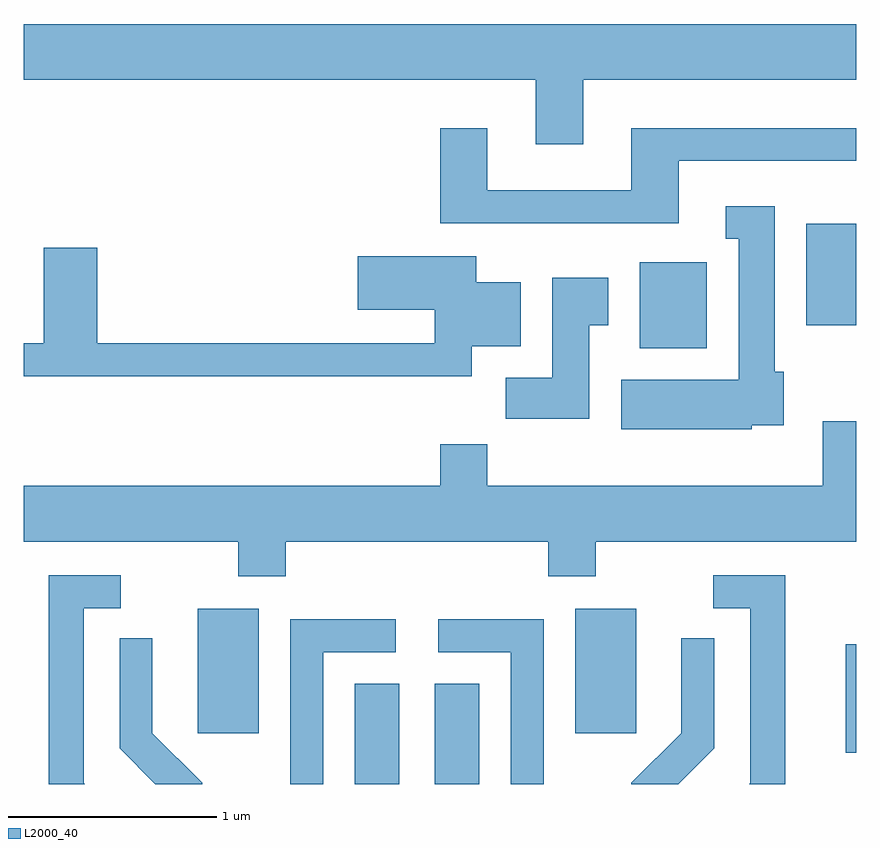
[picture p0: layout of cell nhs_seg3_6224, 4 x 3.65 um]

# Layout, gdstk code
import gdstk
lib = gdstk.Library(unit=1e-6, precision=1e-09)
def R(c, l, rs):  # rectangles x0, y0, x1, y1
    for r in rs: c.add(gdstk.rectangle(r[:2], r[2:], *l))
def P(c, l, *ps):  # polygons
    for p in ps: c.add(gdstk.Polygon(p, *l))
L2000_40 = (2000, 40)

nhs_seg3_6224 = lib.new_cell('nhs_seg3_6224')
R(nhs_seg3_6224, L2000_40, [(369.201,1195.892,369.414,1196.374), (369.586,1195.892,369.799,1196.374), (371.561,1196.041,371.611,1196.564), (368.446,1196.136,368.739,1196.734), (370.261,1196.136,370.554,1196.734), (370.571,1197.986,370.894,1198.399), (371.371,1198.096,371.611,1198.584)])
P(nhs_seg3_6224, L2000_40, [(370.299,1199.276),(371.611,1199.276),(371.611,1199.544),(367.611,1199.544),(367.611,1199.276),(370.071,1199.276),(370.071,1198.966),(370.299,1198.966)],
  [(370.759,1198.886),(371.611,1198.886),(371.611,1199.044),(370.531,1199.044),(370.531,1198.744),(369.839,1198.744),(369.839,1199.044),(369.611,1199.044),(369.611,1198.586),(370.759,1198.586)],
  [(371.109,1197.616),(371.264,1197.616),(371.264,1197.874),(371.219,1197.874),(371.219,1198.669),(370.983,1198.669),(370.983,1198.511),(371.046,1198.511),(371.046,1197.834),(370.481,1197.834),(370.481,1197.596),(371.109,1197.596)],
  [(369.764,1197.996),(369.999,1197.996),(369.999,1198.304),(369.784,1198.304),(369.784,1198.429),(369.216,1198.429),(369.216,1198.171),(369.586,1198.171),(369.586,1198.009),(367.964,1198.009),(367.964,1198.469),(367.706,1198.469),(367.706,1198.009),(367.611,1198.009),(367.611,1197.851),(369.764,1197.851)],
  [(370.329,1198.096),(370.419,1198.096),(370.419,1198.324),(370.151,1198.324),(370.151,1197.844),(369.926,1197.844),(369.926,1197.646),(370.329,1197.646)],
  [(368.869,1197.056),(370.131,1197.056),(370.131,1196.891),(370.359,1196.891),(370.359,1197.056),(371.611,1197.056),(371.611,1197.634),(371.451,1197.634),(371.451,1197.324),(369.839,1197.324),(369.839,1197.524),(369.611,1197.524),(369.611,1197.324),(367.611,1197.324),(367.611,1197.056),(368.641,1197.056),(368.641,1196.891),(368.869,1196.891)],
  [(367.899,1195.897),(367.899,1196.736),(368.078,1196.736),(368.078,1196.894),(367.731,1196.894),(367.731,1195.892),(367.904,1195.892)],
  [(371.269,1196.894),(370.923,1196.894),(370.923,1196.736),(371.101,1196.736),(371.101,1195.897),(371.096,1195.892),(371.269,1195.892)],
  [(370.109,1196.684),(369.603,1196.684),(369.603,1196.526),(369.951,1196.526),(369.951,1195.892),(370.109,1195.892)],
  [(369.049,1196.526),(369.398,1196.526),(369.398,1196.684),(368.891,1196.684),(368.891,1195.892),(369.049,1195.892)],
  [(370.929,1196.064),(370.929,1196.593),(370.771,1196.593),(370.771,1196.137),(370.531,1195.897),(370.531,1195.892),(370.757,1195.892)],
  [(368.469,1195.897),(368.229,1196.137),(368.229,1196.593),(368.071,1196.593),(368.071,1196.064),(368.243,1195.892),(368.469,1195.892)])

lib.write_gds('nhs_seg3_6224.gds')
